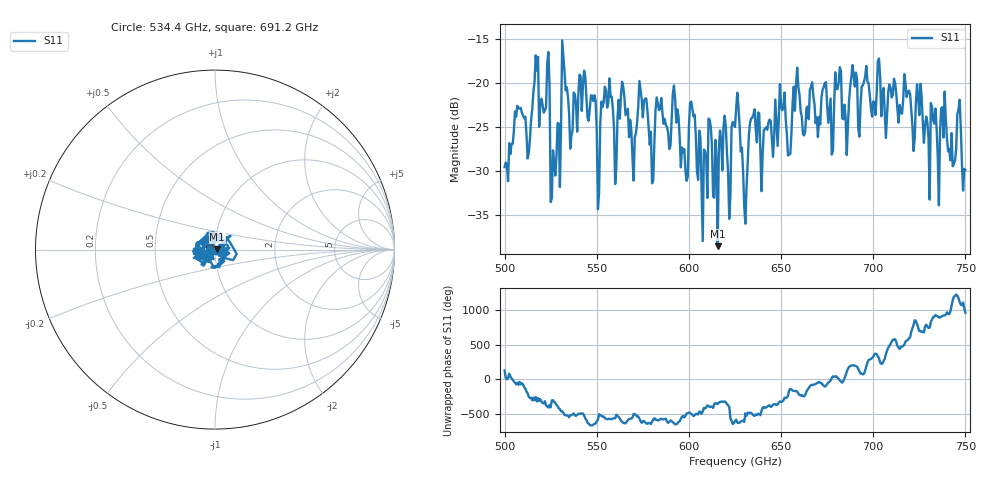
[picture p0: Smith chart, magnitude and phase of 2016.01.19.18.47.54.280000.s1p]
!Created with skrf (http://scikit-rf.org).
# GHz S RI R 50.0
!freq ReS11 ImS11
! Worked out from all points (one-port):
!   401 points, 500 GHz to 750 GHz, reference 50 ohm
!   lowest |S11| = -38.6 dB at 615.6 GHz (marker M1), VSWR 1.02, Z = 51.2 + j0.209 ohm
!   |S11| at or under -10 dB: start of sweep to end of sweep
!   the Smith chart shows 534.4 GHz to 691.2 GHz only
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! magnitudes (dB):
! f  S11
! 500 GHz  -29.6
! 506.9 GHz  -22.6
! 513.1 GHz  -27.9
! 516.9 GHz  -16.8
! 523.1 GHz  -17.8
! 526.2 GHz  -27.6
! 531.2 GHz  -15.1
! 548.1 GHz  -22.0
! 551.2 GHz  -32.5
! 553.8 GHz  -22.2
! 560 GHz  -31.5
! 562.5 GHz  -24.0
! 570 GHz  -31.1
! 574.4 GHz  -21.8
! 580 GHz  -31.4
! 583.8 GHz  -23.1
! 593.8 GHz  -23.0
! 615.6 GHz  -38.6
! 621.9 GHz  -35.4
! 625 GHz  -25.0
! 630.6 GHz  -36.0
! 634.4 GHz  -23.9
! 656.2 GHz  -22.3
! 687.5 GHz  -20.4
! 718.8 GHz  -21.1
! 743.1 GHz  -29.5
! 746.2 GHz  -23.0
! 750 GHz  -29.9
